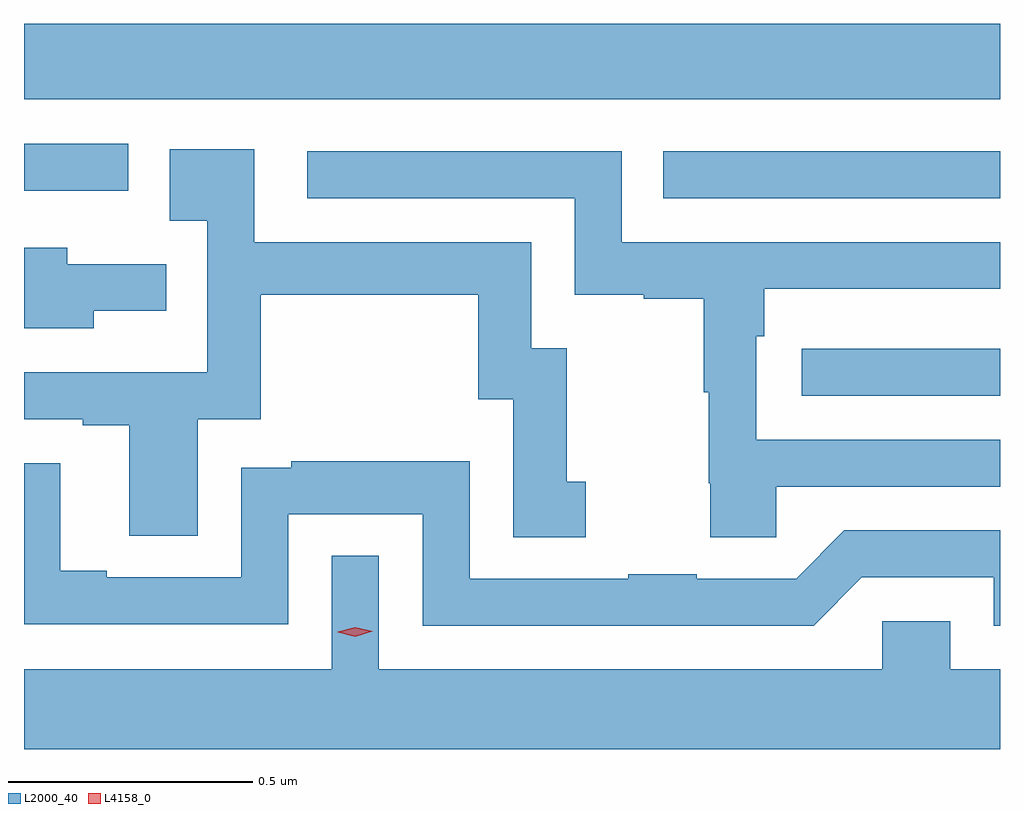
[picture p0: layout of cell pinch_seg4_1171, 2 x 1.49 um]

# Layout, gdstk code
import gdstk
lib = gdstk.Library(unit=1e-6, precision=1e-09)
def R(c, l, rs):  # rectangles x0, y0, x1, y1
    for r in rs: c.add(gdstk.rectangle(r[:2], r[2:], *l))
def P(c, l, *ps):  # polygons
    for p in ps: c.add(gdstk.Polygon(p, *l))
L2000_40 = (2000, 40)
L4158_0 = (4158, 0)

pinch_seg4_1171 = lib.new_cell('pinch_seg4_1171')
R(pinch_seg4_1171, L2000_40, [(472.047,777.564,472.453,777.66), (471.763,777.969,472.453,778.065), (470.453,777.984,470.667,778.08), (470.453,778.172,472.453,778.326)])
P(pinch_seg4_1171, L2000_40, [(471.604,777.388),(471.565,777.388),(471.565,777.661),(471.492,777.661),(471.492,777.879),(470.925,777.879),(470.925,778.069),(470.752,778.069),(470.752,777.923),(470.829,777.923),(470.829,777.612),(470.453,777.612),(470.453,777.516),(470.573,777.516),(470.573,777.504),(470.669,777.504),(470.669,777.277),(470.809,777.277),(470.809,777.516),(470.938,777.516),(470.938,777.771),(471.384,777.771),(471.384,777.557),(471.456,777.557),(471.456,777.274),(471.604,777.274)],
  [(471.995,777.378),(472.453,777.378),(472.453,777.474),(471.954,777.474),(471.954,777.686),(471.97,777.686),(471.97,777.783),(472.453,777.783),(472.453,777.879),(471.678,777.879),(471.678,778.065),(471.033,778.065),(471.033,777.969),(471.582,777.969),(471.582,777.771),(471.723,777.771),(471.723,777.763),(471.846,777.763),(471.846,777.571),(471.856,777.571),(471.856,777.385),(471.859,777.385),(471.859,777.274),(471.995,777.274)],
  [(470.596,777.738),(470.744,777.738),(470.744,777.834),(470.542,777.834),(470.542,777.867),(470.453,777.867),(470.453,777.702),(470.596,777.702)],
  [(472.17,777.192),(472.44,777.192),(472.44,777.093),(472.453,777.093),(472.453,777.288),(472.134,777.288),(472.035,777.189),(471.832,777.189),(471.832,777.198),(471.691,777.198),(471.691,777.189),(471.366,777.189),(471.366,777.43),(471.001,777.43),(471.001,777.417),(470.898,777.417),(470.898,777.192),(470.623,777.192),(470.623,777.205),(470.527,777.205),(470.527,777.426),(470.453,777.426),(470.453,777.096),(470.994,777.096),(470.994,777.321),(471.27,777.321),(471.27,777.093),(472.071,777.093)],
  [(472.453,777.004),(472.351,777.004),(472.351,777.102),(472.212,777.102),(472.212,777.004),(471.18,777.004),(471.18,777.236),(471.084,777.236),(471.084,777.004),(470.453,777.004),(470.453,776.84),(472.453,776.84)])
P(pinch_seg4_1171, L4158_0, [(471.132,777.07),(471.096,777.079),(471.096,777.08),(471.096,777.08),(471.132,777.09),(471.168,777.081),(471.168,777.081),(471.168,777.081)])

lib.write_gds('pinch_seg4_1171.gds')
